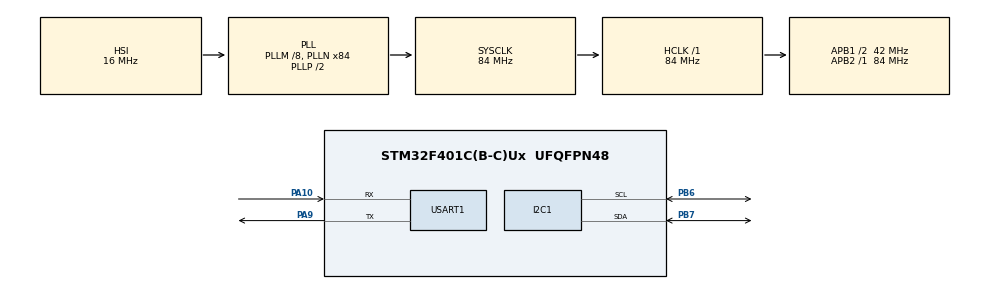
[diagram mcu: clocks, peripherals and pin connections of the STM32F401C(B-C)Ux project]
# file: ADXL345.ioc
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Dma.Request0=USART1_RX
Dma.USART1_RX.0.Direction=DMA_PERIPH_TO_MEMORY
Dma.USART1_RX.0.FIFOMode=DMA_FIFOMODE_DISABLE
Dma.USART1_RX.0.Instance=DMA2_Stream2
Dma.USART1_RX.0.MemDataAlignment=DMA_MDATAALIGN_BYTE
Dma.USART1_RX.0.MemInc=DMA_MINC_ENABLE
Dma.USART1_RX.0.Mode=DMA_CIRCULAR
Dma.USART1_RX.0.PeriphDataAlignment=DMA_PDATAALIGN_BYTE
Dma.USART1_RX.0.PeriphInc=DMA_PINC_DISABLE
Dma.USART1_RX.0.Priority=DMA_PRIORITY_LOW
I2C1.I2C_Mode=I2C_Standard
Mcu.Family=STM32F4
Mcu.Name=STM32F401C(B-C)Ux
Mcu.Package=UFQFPN48
NVIC.DMA2_Stream2_IRQn=true\:0\:0\:false\:false\:true\:false\:true\:true
NVIC.PriorityGroup=NVIC_PRIORITYGROUP_4
PA10.Mode=Asynchronous
PA10.Signal=USART1_RX
PA13.Mode=Serial_Wire
PA13.Signal=SYS_JTMS-SWDIO
PA14.Mode=Serial_Wire
PA14.Signal=SYS_JTCK-SWCLK
PA9.Mode=Asynchronous
PA9.Signal=USART1_TX
PB6.Mode=I2C
PB6.Signal=I2C1_SCL
PB7.Mode=I2C
PB7.Signal=I2C1_SDA
PH0\ -\ OSC_IN.Mode=HSE-External-Oscillator
PH0\ -\ OSC_IN.Signal=RCC_OSC_IN
PH1\ -\ OSC_OUT.Mode=HSE-External-Oscillator
PH1\ -\ OSC_OUT.Signal=RCC_OSC_OUT
ProjectManager.HeapSize=0x200
ProjectManager.StackSize=0x400
ProjectManager.TargetToolchain=STM32CubeIDE
RCC.48MHZClocksFreq_Value=42000000
RCC.AHBFreq_Value=84000000
RCC.APB1CLKDivider=RCC_HCLK_DIV2
RCC.APB1Freq_Value=42000000
RCC.APB1TimFreq_Value=84000000
RCC.APB2Freq_Value=84000000
RCC.APB2TimFreq_Value=84000000
RCC.CortexFreq_Value=84000000
RCC.HCLKFreq_Value=84000000
RCC.HSE_VALUE=25000000
RCC.HSI_VALUE=16000000
RCC.LSE_VALUE=32768
RCC.PLLM=8
RCC.PLLN=84
RCC.SYSCLKFreq_VALUE=84000000
RCC.SYSCLKSource=RCC_SYSCLKSOURCE_PLLCLK
RCC.VCOOutputFreq_Value=168000000
USART1.VirtualMode=VM_ASYNC
board=custom

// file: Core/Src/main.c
/* USER CODE BEGIN Header */
/**
  ******************************************************************************
  * @file           : main.c
  * @brief          : Main program body
  ******************************************************************************
  * @attention
  *
  * Copyright (c) 2024 STMicroelectronics.
  * All rights reserved.
  *
  * This software is licensed under terms that can be found in the LICENSE file
  * in the root directory of this software component.
  * If no LICENSE file comes with this software, it is provided AS-IS.
  *
  ******************************************************************************
  */
/* USER CODE END Header */
#include "main.h"
#include "dma.h"
#include "i2c.h"
#include "usart.h"
#include "gpio.h"

/* USER CODE BEGIN PTD */
typedef enum{
	SENSOR_OFFSET=0,//sensor offset
	USER_OFFSET 		// user_offset
}sensor_offset;
/* USER CODE END PTD */

/* USER CODE BEGIN PD */
#define ADXL345_add (0x53 << 1)

#define POWER_CTL_REG		  0x2D
#define DATA_FORMAT_REG   0x31

#define XYZ_OFFSET_ADD    0x1E
#define XYZ_DATA_ADD      0x32
/* USER CODE END PD */

/* USER CODE BEGIN PV */
uint8_t uart_send_data[32];
uint8_t rx_data;
int16_t xyz_global[3];
int32_t first_lsb_val[3];
/* USER CODE END PV */

void SystemClock_Config(void);
/* USER CODE BEGIN PFP */
void uart_send(uint8_t uart_num, char *fmt,...);
void HAL_UART_RxCpltCallback(UART_HandleTypeDef *huart);
extern HAL_StatusTypeDef HAL_I2C_IsDeviceReady(I2C_HandleTypeDef *hi2c, uint16_t DevAddress, uint32_t Trials, uint32_t Timeout);
void i2c_check_address();

//ADXL345 function
void ADXL345_Read_offset();
void ADXL345_Read_XYZ();
void ADXL345_init(sensor_offset user_setting);

void HAL_UART_RxCpltCallback(UART_HandleTypeDef *huart)
{
	if(huart->Instance==USART1){
		uart_send(1,"rx : %c 0x%02x\n",rx_data,rx_data);
		HAL_UART_Receive_DMA(&huart1,&rx_data,1);
	}
  UNUSED(huart);
}

void i2c_check_address(){
	for(uint8_t i=0;i<128;i++){
		if(HAL_I2C_IsDeviceReady(&hi2c1,i<<1,1,10)==HAL_OK){
			uart_send(1,"i2c address is 0x%02X\n",i);
		}
	}
}

void ADXL345_Read_offset(){

	uint8_t _3bit_data[3];
	if(HAL_I2C_IsDeviceReady(&hi2c1,ADXL345_add,1,10)!=HAL_OK){
		uart_send(1,"%d address, invalid address or invalid connected!\n",ADXL345_add);
		return;
	}
	HAL_I2C_Mem_Read(&hi2c1,ADXL345_add,XYZ_OFFSET_ADD,1,&_3bit_data[0],3,10);
	uart_send(1,"offset val\n");
	uart_send(1,"  X   Y   Z\n");
	uart_send(1,"0x%02X 0x%02X 0x%02X\n",_3bit_data[0],_3bit_data[1],_3bit_data[2]);
}

void ADXL345_Read_XYZ(){
	uint8_t xyz_data[6];
	uint8_t j=0;
	if(HAL_I2C_IsDeviceReady(&hi2c1,ADXL345_add,1,10)!=HAL_OK){
		uart_send(1,"%d address, invalid address or invalid connected!\n",ADXL345_add);
		return;
	}
	HAL_I2C_Mem_Read(&hi2c1,ADXL345_add,XYZ_DATA_ADD,1,xyz_data,6,1000);
	for (uint8_t i = 0;i<5;i+=2){
		xyz_global[j++] = (xyz_data[i+1] << 8) | xyz_data[i];
	}

	long double xyz_val[3];
	int16_t xyz_int[3];
	uint8_t xyz_char[3]="xyz";

	for(uint8_t i=0;i<3;i++){
		xyz_val[i] = (int16_t) (xyz_global[i] - first_lsb_val[i]);

		xyz_val[i] = (xyz_val[i]*4)/1000;
		xyz_int[i] = xyz_val[i]*1000; //mg
		if((xyz_int[i]<1000 && xyz_int[i]>0)||
			 (xyz_int[i]>-1000 && xyz_int[i]<0)){
			uart_send(1,"%c:%dmg ",xyz_char[i],xyz_int[i]);
		}
		else if((xyz_int[i]>=1000)||
				    (xyz_int[i]<=-1000)||
						(xyz_int[i]==0)){
			if(xyz_int[i]>=0){
				uart_send(1,"%c:%d.%dg ",xyz_char[i],xyz_int[i]/1000,xyz_int[i]/100-(xyz_int[i]/1000)*10);
			}
			else if(xyz_int[i]<0){
				uart_send(1,"%c:%d.%dg ",xyz_char[i],xyz_int[i]/1000,(xyz_int[i]/100-(xyz_int[i]/1000)*10)*-1);
			}
		}
	}
	uart_send(1,"\n\n\n");
}

void ADXL345_init(sensor_offset user_setting){
	first_lsb_val[0]=0;
	first_lsb_val[1]=0;
	first_lsb_val[2]=0;

	//0 is sensor first setting offset,
	uint8_t power_ctl = 0x08;
	HAL_I2C_Mem_Write(&hi2c1, ADXL345_add, POWER_CTL_REG, I2C_MEMADD_SIZE_8BIT, &power_ctl, 1, 1000);

	uint8_t data_format = 0x0B;
  HAL_I2C_Mem_Write(&hi2c1, ADXL345_add, DATA_FORMAT_REG, I2C_MEMADD_SIZE_8BIT, &data_format, 1, 1000);

  uint8_t average_number = 10;//Data Average Sensor Detection Count
  if(USER_OFFSET==user_setting){
  	for(uint8_t j=0;j<average_number;j++){
  		ADXL345_Read_XYZ();
			for(uint8_t i=0;i<3;i++){
				first_lsb_val[i]+=xyz_global[i];
			}
  	}
  	for(uint8_t i=0;i<3;i++){
  		first_lsb_val[i]/=average_number;
  	}
  }
  else if(SENSOR_OFFSET==user_setting){
  	for(uint8_t i=0;i<3;i++){
  		first_lsb_val[i]=0;
  		HAL_I2C_Mem_Write(&hi2c1, ADXL345_add, 0x1D + i, I2C_MEMADD_SIZE_8BIT, (uint8_t *)&first_lsb_val[i], 1, 1000);
  	}
  }
}

void uart_send(uint8_t uart_num, char *fmt,...){
	va_list arg;
	va_start(arg,fmt);
	vsnprintf((char *)&uart_send_data[0],32,fmt,arg);

	if(uart_num==1){
		HAL_UART_Transmit(&huart1,uart_send_data,32,10);
	}

	memset(uart_send_data,0,32);
	va_end(arg);
}
/* USER CODE END PFP */

int main(void)
{

  /* MCU Configuration--------------------------------------------------------*/

  /* Reset of all peripherals, Initializes the Flash interface and the Systick. */
  HAL_Init();

  /* Configure the system clock */
  SystemClock_Config();

  /* Initialize all configured peripherals */
  MX_GPIO_Init();
  MX_DMA_Init();
  MX_USART1_UART_Init();
  MX_I2C1_Init();
  /* USER CODE BEGIN 2 */
  UART_Start_Receive_DMA(&huart1,&rx_data,1);

  i2c_check_address();
  HAL_Delay(10);
  ADXL345_init(SENSOR_OFFSET);
  HAL_Delay(10);
	ADXL345_Read_offset();

	uint32_t pretime=HAL_GetTick();
  /* USER CODE END 2 */

  /* Infinite loop */
  /* USER CODE BEGIN WHILE */
  while (1)
  {
  	if(HAL_GetTick()-pretime>500){
  		ADXL345_Read_XYZ();
  		pretime=HAL_GetTick();
  	}
    /* USER CODE END WHILE */

  }
}

void SystemClock_Config(void)
{
  RCC_OscInitTypeDef RCC_OscInitStruct = {0};
  RCC_ClkInitTypeDef RCC_ClkInitStruct = {0};

  /** Configure the main internal regulator output voltage
  */
  __HAL_RCC_PWR_CLK_ENABLE();
  __HAL_PWR_VOLTAGESCALING_CONFIG(PWR_REGULATOR_VOLTAGE_SCALE2);

  /** Initializes the RCC Oscillators according to the specified parameters
  * in the RCC_OscInitTypeDef structure.
  */
  RCC_OscInitStruct.OscillatorType = RCC_OSCILLATORTYPE_HSI;
  RCC_OscInitStruct.HSIState = RCC_HSI_ON;
  RCC_OscInitStruct.HSICalibrationValue = RCC_HSICALIBRATION_DEFAULT;
  RCC_OscInitStruct.PLL.PLLState = RCC_PLL_ON;
  RCC_OscInitStruct.PLL.PLLSource = RCC_PLLSOURCE_HSI;
  RCC_OscInitStruct.PLL.PLLM = 8;
  RCC_OscInitStruct.PLL.PLLN = 84;
  RCC_OscInitStruct.PLL.PLLP = RCC_PLLP_DIV2;
  RCC_OscInitStruct.PLL.PLLQ = 4;
  if (HAL_RCC_OscConfig(&RCC_OscInitStruct) != HAL_OK)
  {
    Error_Handler();
  }

  /** Initializes the CPU, AHB and APB buses clocks
  */
  RCC_ClkInitStruct.ClockType = RCC_CLOCKTYPE_HCLK|RCC_CLOCKTYPE_SYSCLK
                              |RCC_CLOCKTYPE_PCLK1|RCC_CLOCKTYPE_PCLK2;
  RCC_ClkInitStruct.SYSCLKSource = RCC_SYSCLKSOURCE_PLLCLK;
  RCC_ClkInitStruct.AHBCLKDivider = RCC_SYSCLK_DIV1;
  RCC_ClkInitStruct.APB1CLKDivider = RCC_HCLK_DIV2;
  RCC_ClkInitStruct.APB2CLKDivider = RCC_HCLK_DIV1;

  if (HAL_RCC_ClockConfig(&RCC_ClkInitStruct, FLASH_LATENCY_2) != HAL_OK)
  {
    Error_Handler();
  }
}

void Error_Handler(void)
{
  __disable_irq();
  while (1)
  {
  }
}
